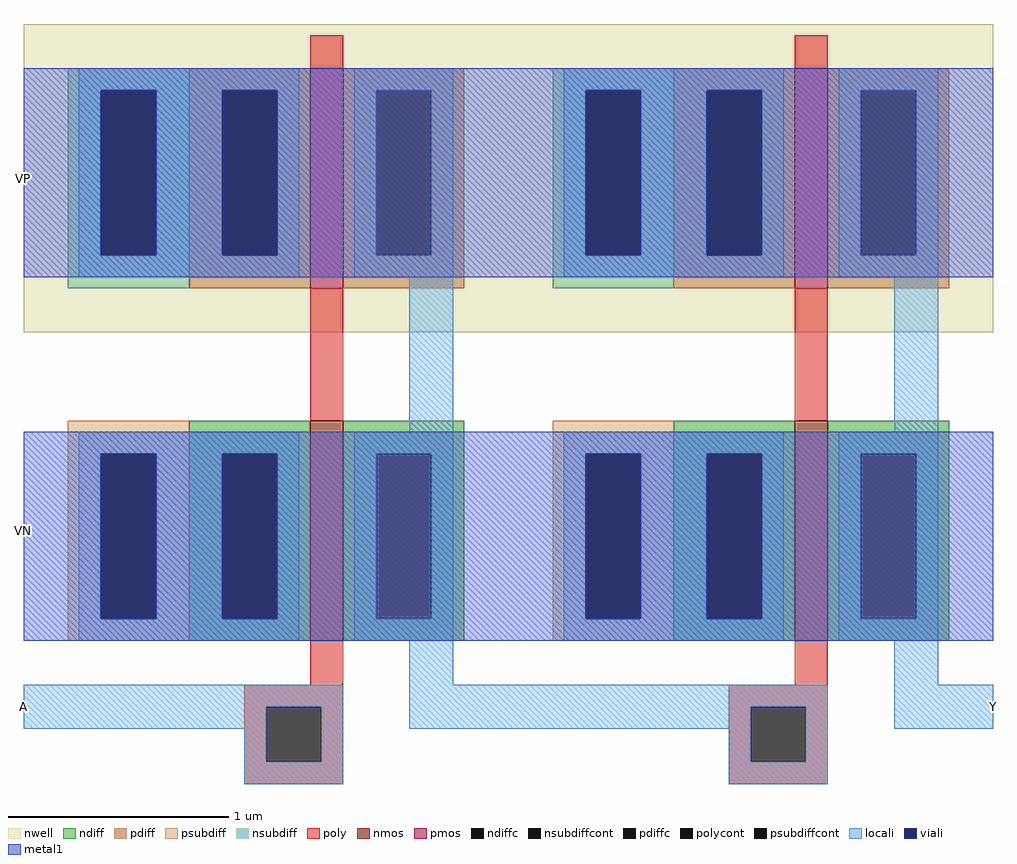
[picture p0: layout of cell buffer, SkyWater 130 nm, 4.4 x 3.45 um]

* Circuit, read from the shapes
.subckt buffer A VN VP Y
XM1 inverte_1/A A VN VN sky130_fd_pr__nfet_01v8 w=1 l=0.15
XM2 Y inverte_1/A VN VN sky130_fd_pr__nfet_01v8 w=1 l=0.15
XM3 inverte_1/A A VP VP sky130_fd_pr__pfet_01v8 w=1 l=0.15
XM4 Y inverte_1/A VP VP sky130_fd_pr__pfet_01v8 w=1 l=0.15
.ends

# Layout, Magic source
magic
tech sky130A
<< locali >>
rect 120 235 145 255
rect 535 235 560 255
<< metal1 >>
rect 120 440 140 535
rect 120 275 140 370
use inverte  inverte_0
transform 1 0 230 0 1 240
box -110 -30 110 320
use inverte  inverte_1
transform 1 0 450 0 1 240
box -110 -30 110 320
<< labels >>
rlabel locali 120 245 120 245 7 A
rlabel metal1 120 485 120 485 7 VP
rlabel metal1 120 325 120 325 7 VN
rlabel locali 560 245 560 245 3 Y
<< end >>

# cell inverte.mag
magic
tech sky130A
<< nwell >>
rect -110 175 110 315
<< nmos >>
rect 20 35 35 135
<< pmos >>
rect 20 195 35 295
<< ndiff >>
rect -35 120 20 135
rect -35 45 -20 120
rect 5 45 20 120
rect -35 35 20 45
rect 35 120 90 135
rect 35 45 50 120
rect 75 45 90 120
rect 35 35 90 45
<< pdiff >>
rect -35 285 20 295
rect -35 210 -20 285
rect 5 210 20 285
rect -35 195 20 210
rect 35 285 90 295
rect 35 210 50 285
rect 75 210 90 285
rect 35 195 90 210
<< ndiffc >>
rect -20 45 5 120
rect 50 45 75 120
<< pdiffc >>
rect -20 210 5 285
rect 50 210 75 285
<< psubdiff >>
rect -90 120 -35 135
rect -90 45 -75 120
rect -50 45 -35 120
rect -90 35 -35 45
<< nsubdiff >>
rect -90 285 -35 295
rect -90 210 -75 285
rect -50 210 -35 285
rect -90 195 -35 210
<< psubdiffcont >>
rect -75 45 -50 120
<< nsubdiffcont >>
rect -75 210 -50 285
<< poly >>
rect 20 295 35 310
rect 20 135 35 195
rect 20 15 35 35
rect -10 5 35 15
rect -10 -20 0 5
rect 25 -20 35 5
rect -10 -30 35 -20
<< polycont >>
rect 0 -20 25 5
<< locali >>
rect -85 285 15 295
rect -85 210 -75 285
rect -50 210 -20 285
rect 5 210 15 285
rect -85 200 15 210
rect 40 285 85 295
rect 40 210 50 285
rect 75 210 85 285
rect 40 200 85 210
rect 65 130 85 200
rect -85 120 15 130
rect -85 45 -75 120
rect -50 45 -20 120
rect 5 45 15 120
rect -85 35 15 45
rect 40 120 85 130
rect 40 45 50 120
rect 75 45 85 120
rect 40 35 85 45
rect 65 15 85 35
rect -110 5 35 15
rect -110 -5 0 5
rect -10 -20 0 -5
rect 25 -20 35 5
rect 65 -5 110 15
rect -10 -30 35 -20
<< viali >>
rect -75 210 -50 285
rect -20 210 5 285
rect -75 45 -50 120
rect -20 45 5 120
<< metal1 >>
rect -110 285 110 295
rect -110 210 -75 285
rect -50 210 -20 285
rect 5 210 110 285
rect -110 200 110 210
rect -110 120 110 130
rect -110 45 -75 120
rect -50 45 -20 120
rect 5 45 110 120
rect -110 35 110 45
<< labels >>
rlabel locali 110 5 110 5 3 Y
port 2 e
rlabel locali -110 5 -110 5 7 A
port 1 w
rlabel metal1 -110 80 -110 80 7 VN
port 4 w
rlabel metal1 -110 245 -110 245 7 VP
port 3 w
<< end >>
